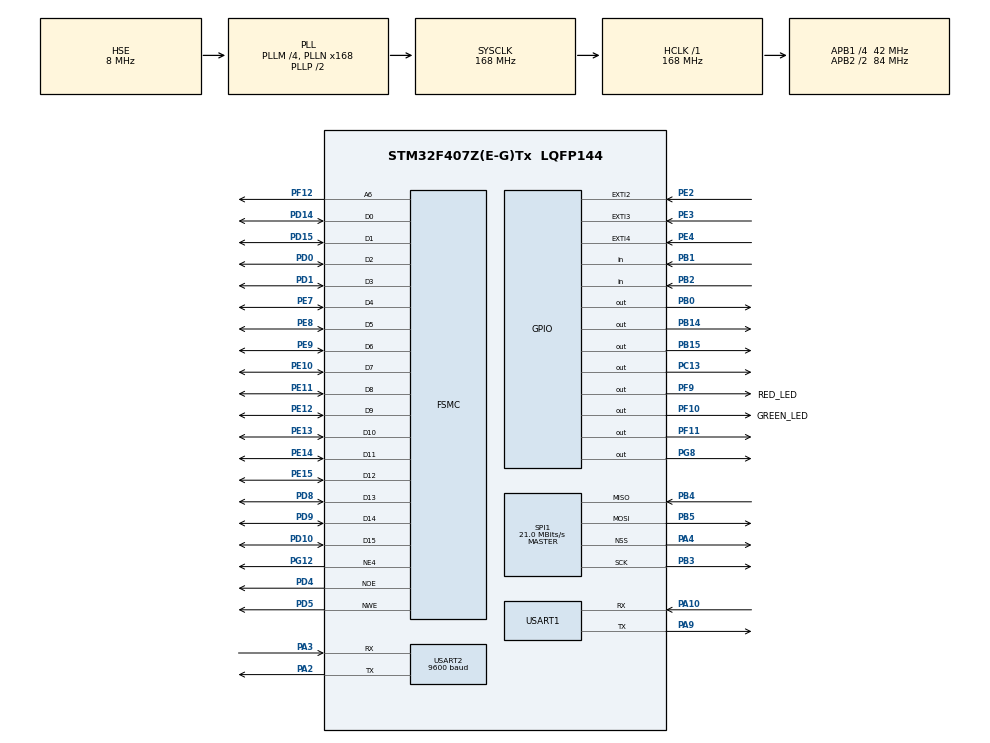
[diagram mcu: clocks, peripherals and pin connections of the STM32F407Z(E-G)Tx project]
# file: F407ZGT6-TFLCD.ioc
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FREERTOS.BinarySemaphores01=netEvent,Dynamic,NULL,Depleted;keyEvent,Dynamic,NULL,Depleted
FREERTOS.Mutexes01=usart1Mutex,Dynamic,NULL,Available;flashMutex,Dynamic,NULL,Available
FREERTOS.Queues01=dataQueue,1,GatewayData_t,0,Dynamic,NULL,NULL;lvglDataQueue,1,GatewayData_t,0,Dynamic,NULL,NULL
FREERTOS.Tasks01=defaultTask,24,128,StartDefaultTask,Default,NULL,Dynamic,NULL,NULL;UITASK,32,2048,StartUITask,As external,NULL,Dynamic,NULL,NULL;modbusTask,25,768,StartModbusTask,As external,NULL,Dynamic,NULL,NULL;atTask,23,512,StartATTask,As external,NULL,Dynamic,NULL,NULL;mqttTask,23,768,StartMQTTTask,As external,NULL,Dynamic,NULL,NULL;dogTask,40,128,StartDogTask,As external,NULL,Dynamic,NULL,NULL
FREERTOS.configENABLE_FPU=1
FREERTOS.configMAX_CO_ROUTINE_PRIORITIES=6
FREERTOS.configTOTAL_HEAP_SIZE=30720
FREERTOS.configUSE_CO_ROUTINES=0
FSMC.BusTurnAroundDuration4=0
FSMC.DataSetupTime4=60
FSMC.ExtendedAddressSetupTime4=9
FSMC.ExtendedBusTurnAroundDuration4=0
FSMC.ExtendedDataSetupTime4=8
FSMC.ExtendedMode4=FSMC_EXTENDED_MODE_ENABLE
IWDG.Prescaler=IWDG_PRESCALER_128
IWDG.Reload=2000
Mcu.Family=STM32F4
Mcu.Name=STM32F407Z(E-G)Tx
Mcu.Package=LQFP144
NVIC.EXTI2_IRQn=true\:5\:0\:false\:false\:true\:true\:true\:true\:true
NVIC.EXTI3_IRQn=true\:5\:0\:false\:false\:true\:true\:true\:true\:true
NVIC.EXTI4_IRQn=true\:5\:0\:false\:false\:true\:true\:true\:true\:true
NVIC.PriorityGroup=NVIC_PRIORITYGROUP_4
NVIC.TIM4_IRQn=true\:15\:0\:false\:false\:true\:false\:false\:true\:true
NVIC.TimeBase=TIM4_IRQn
NVIC.TimeBaseIP=TIM4
NVIC.USART1_IRQn=true\:5\:0\:false\:false\:true\:true\:true\:true\:true
PA10.Mode=Asynchronous
PA10.Signal=USART1_RX
PA13.Mode=Serial_Wire
PA13.Signal=SYS_JTMS-SWDIO
PA14.Mode=Serial_Wire
PA14.Signal=SYS_JTCK-SWCLK
PA2.Mode=Asynchronous
PA2.Signal=USART2_TX
PA3.Mode=Asynchronous
PA3.Signal=USART2_RX
PA4.Mode=NSS_Signal_Hard_Output
PA4.Signal=SPI1_NSS
PA9.Mode=Asynchronous
PA9.Signal=USART1_TX
PB0.Signal=GPIO_Output
PB1.GPIO_PuPd=GPIO_PULLUP
PB1.Signal=GPIO_Input
PB14.PinState=GPIO_PIN_SET
PB14.Signal=GPIO_Output
PB15.PinState=GPIO_PIN_SET
PB15.Signal=GPIO_Output
PB2.GPIO_PuPd=GPIO_PULLUP
PB2.Signal=GPIO_Input
PB3.Mode=Full_Duplex_Master
PB3.Signal=SPI1_SCK
PB4.Mode=Full_Duplex_Master
PB4.Signal=SPI1_MISO
PB5.Mode=Full_Duplex_Master
PB5.Signal=SPI1_MOSI
PC13-ANTI_TAMP.PinState=GPIO_PIN_SET
PC13-ANTI_TAMP.Signal=GPIO_Output
PC14-OSC32_IN.Mode=LSE-External-Oscillator
PC14-OSC32_IN.Signal=RCC_OSC32_IN
PC15-OSC32_OUT.Mode=LSE-External-Oscillator
PC15-OSC32_OUT.Signal=RCC_OSC32_OUT
PD0.Signal=FSMC_D2_DA2
PD1.Signal=FSMC_D3_DA3
PD10.Signal=FSMC_D15_DA15
PD14.Signal=FSMC_D0_DA0
PD15.Signal=FSMC_D1_DA1
PD4.Signal=FSMC_NOE
PD5.Signal=FSMC_NWE
PD8.Signal=FSMC_D13_DA13
PD9.Signal=FSMC_D14_DA14
PE10.Signal=FSMC_D7_DA7
PE11.Signal=FSMC_D8_DA8
PE12.Signal=FSMC_D9_DA9
PE13.Signal=FSMC_D10_DA10
PE14.Signal=FSMC_D11_DA11
PE15.Signal=FSMC_D12_DA12
PE2.GPIO_ModeDefaultEXTI=GPIO_MODE_IT_FALLING
PE2.GPIO_PuPd=GPIO_PULLUP
PE2.Signal=GPXTI2
PE3.GPIO_ModeDefaultEXTI=GPIO_MODE_IT_FALLING
PE3.GPIO_PuPd=GPIO_PULLUP
PE3.Signal=GPXTI3
PE4.GPIO_ModeDefaultEXTI=GPIO_MODE_IT_FALLING
PE4.GPIO_PuPd=GPIO_PULLUP
PE4.Signal=GPXTI4
PE7.Signal=FSMC_D4_DA4
PE8.Signal=FSMC_D5_DA5
PE9.Signal=FSMC_D6_DA6
PF10.GPIO_Label=GREEN_LED
PF10.PinState=GPIO_PIN_SET
PF10.Signal=GPIO_Output
PF11.Signal=GPIO_Output
PF12.Signal=FSMC_A6
PF9.GPIO_Label=RED_LED
PF9.PinState=GPIO_PIN_SET
PF9.Signal=GPIO_Output
PG12.Mode=NorPsramChipSelect4_4
PG12.Signal=FSMC_NE4
PG8.Signal=GPIO_Output
PH0-OSC_IN.Mode=HSE-External-Oscillator
PH0-OSC_IN.Signal=RCC_OSC_IN
PH1-OSC_OUT.Mode=HSE-External-Oscillator
PH1-OSC_OUT.Signal=RCC_OSC_OUT
ProjectManager.HeapSize=0X2000
ProjectManager.StackSize=0x2000
ProjectManager.TargetToolchain=MDK-ARM V5.32
RCC.48MHZClocksFreq_Value=84000000
RCC.AHBFreq_Value=168000000
RCC.APB1CLKDivider=RCC_HCLK_DIV4
RCC.APB1Freq_Value=42000000
RCC.APB1TimFreq_Value=84000000
RCC.APB2CLKDivider=RCC_HCLK_DIV2
RCC.APB2Freq_Value=84000000
RCC.APB2TimFreq_Value=168000000
RCC.CortexFreq_Value=168000000
RCC.HCLKFreq_Value=168000000
RCC.HSE_VALUE=8000000
RCC.HSI_VALUE=16000000
RCC.PLLM=4
RCC.PLLN=168
RCC.PLLSourceVirtual=RCC_PLLSOURCE_HSE
RCC.SYSCLKFreq_VALUE=168000000
RCC.SYSCLKSource=RCC_SYSCLKSOURCE_PLLCLK
RCC.VCOOutputFreq_Value=336000000
SH.FSMC_A6.0=FSMC_A6,A6_4
SH.FSMC_D0_DA0.0=FSMC_D0,16b-d4
SH.FSMC_D10_DA10.0=FSMC_D10,16b-d4
SH.FSMC_D11_DA11.0=FSMC_D11,16b-d4
SH.FSMC_D12_DA12.0=FSMC_D12,16b-d4
SH.FSMC_D13_DA13.0=FSMC_D13,16b-d4
SH.FSMC_D14_DA14.0=FSMC_D14,16b-d4
SH.FSMC_D15_DA15.0=FSMC_D15,16b-d4
SH.FSMC_D1_DA1.0=FSMC_D1,16b-d4
SH.FSMC_D2_DA2.0=FSMC_D2,16b-d4
SH.FSMC_D3_DA3.0=FSMC_D3,16b-d4
SH.FSMC_D4_DA4.0=FSMC_D4,16b-d4
SH.FSMC_D5_DA5.0=FSMC_D5,16b-d4
SH.FSMC_D6_DA6.0=FSMC_D6,16b-d4
SH.FSMC_D7_DA7.0=FSMC_D7,16b-d4
SH.FSMC_D8_DA8.0=FSMC_D8,16b-d4
SH.FSMC_D9_DA9.0=FSMC_D9,16b-d4
SH.FSMC_NOE.0=FSMC_NOE,Lcd4
SH.FSMC_NWE.0=FSMC_NWE,Lcd4
SPI1.BaudRatePrescaler=SPI_BAUDRATEPRESCALER_4
SPI1.CalculateBaudRate=21.0 MBits/s
SPI1.Direction=SPI_DIRECTION_2LINES
SPI1.Mode=SPI_MODE_MASTER
SPI1.VirtualNSS=VM_NSSHARD
SPI1.VirtualType=VM_MASTER
STMicroelectronics.X-CUBE-AI.10.1.0.ActivationBufferSizeList=2944
STMicroelectronics.X-CUBE-AI.10.1.0.ActivationBuffers=pool0
STMicroelectronics.X-CUBE-AI.10.1.0.ActivationNames=pool0
STMicroelectronics.X-CUBE-AI.10.1.0.ActivationSizes=AI_NETWORK_DATA_ACTIVATION_1_SIZE
STMicroelectronics.X-CUBE-AI.10.1.0.InternalRamActivationBufferMaxSize=AI_NETWORK_DATA_ACTIVATIONS_SIZE
STMicroelectronics.X-CUBE-AI.10.1.0.LatestDirectoryUsed-983c594f50453053299c6116cb00e7056095523330580c47e5c2f6d6b2876bee=E\:\\STM32-GongYewanguan\\AI
STMicroelectronics.X-CUBE-AI.10.1.0.MaximumNumberOfInputLayer=1
STMicroelectronics.X-CUBE-AI.10.1.0.MaximumNumberOfOutputLayer=1
STMicroelectronics.X-CUBE-AI.10.1.0.MaximumSizeOfInputLayer=1
STMicroelectronics.X-CUBE-AI.10.1.0.MaximumSizeOfOutputLayer=1
STMicroelectronics.X-CUBE-AI.10.1.0.ModelActualCompression-983c594f50453053299c6116cb00e7056095523330580c47e5c2f6d6b2876bee=0.0
STMicroelectronics.X-CUBE-AI.10.1.0.ModelCompression-983c594f50453053299c6116cb00e7056095523330580c47e5c2f6d6b2876bee=None
STMicroelectronics.X-CUBE-AI.10.1.0.ModelFlashOccupation-983c594f50453053299c6116cb00e7056095523330580c47e5c2f6d6b2876bee=13676
STMicroelectronics.X-CUBE-AI.10.1.0.ModelHashList=983c594f50453053299c6116cb00e7056095523330580c47e5c2f6d6b2876bee
STMicroelectronics.X-CUBE-AI.10.1.0.ModelKind-983c594f50453053299c6116cb00e7056095523330580c47e5c2f6d6b2876bee=TFLITE
STMicroelectronics.X-CUBE-AI.10.1.0.ModelMacc-983c594f50453053299c6116cb00e7056095523330580c47e5c2f6d6b2876bee=168
STMicroelectronics.X-CUBE-AI.10.1.0.ModelName-983c594f50453053299c6116cb00e7056095523330580c47e5c2f6d6b2876bee=network
STMicroelectronics.X-CUBE-AI.10.1.0.ModelNameList=network
STMicroelectronics.X-CUBE-AI.10.1.0.ModelRamOccupation-983c594f50453053299c6116cb00e7056095523330580c47e5c2f6d6b2876bee=2944
STMicroelectronics.X-CUBE-AI.10.1.0.ModelStructureFile-983c594f50453053299c6116cb00e7056095523330580c47e5c2f6d6b2876bee=E\:\\STM32-GongYewanguan\\AI\\sensor_anomaly_model.tflite
STMicroelectronics.X-CUBE-AI.10.1.0.ModelType-983c594f50453053299c6116cb00e7056095523330580c47e5c2f6d6b2876bee=STM32Cube.AI MCU runtime
STMicroelectronics.X-CUBE-AI.10.1.0.ReadyForCodeGeneration=true
STMicroelectronics.X-CUBE-AI.10.1.0.WorkingBufferStartAddrList=0xFFFFFFFF
STMicroelectronics.X-CUBE-AI.10.1.0.XAaCUBEAaAICcArtificialOoIntelligenceJjCore=true
STMicroelectronics.X-CUBE-AI.10.1.0.copyWeightToRam=false
STMicroelectronics.X-CUBE-AI.10.1.0.customLayerConfigEnabled=false
STMicroelectronics.X-CUBE-AI.10.1.0.noOnnxIoTranspose=false
STMicroelectronics.X-CUBE-AI.10.1.0.useInputAllocation=true
STMicroelectronics.X-CUBE-AI.10.1.0.useOutputAllocation=true
USART1.VirtualMode=VM_ASYNC
USART2.BaudRate=9600
USART2.VirtualMode=VM_ASYNC
VP_FREERTOS_VS_CMSIS_V2.Mode=CMSIS_V2
VP_IWDG_VS_IWDG.Mode=IWDG_Activate
VP_STMicroelectronics.X-CUBE-AI_VS_ArtificialOoIntelligenceJjXAaCUBEAaAI_10.1.0.Mode=ArtificialOoIntelligenceJjXAaCUBEAaAI
VP_SYS_VS_tim4.Mode=TIM4
board=custom

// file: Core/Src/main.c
/* USER CODE BEGIN Header */
/**
  ******************************************************************************
  * @file           : main.c
  * @brief          : Main program body
  ******************************************************************************
  * @attention
  *
  * Copyright (c) 2026 STMicroelectronics.
  * All rights reserved.
  *
  * This software is licensed under terms that can be found in the LICENSE file
  * in the root directory of this software component.
  * If no LICENSE file comes with this software, it is provided AS-IS.
  *
  ******************************************************************************
  */
/* USER CODE END Header */
#include "main.h"
#include "cmsis_os.h"
#include "iwdg.h"
#include "spi.h"
#include "usart.h"
#include "gpio.h"
#include "fsmc.h"

/* USER CODE BEGIN Includes */
#include "dvc_lcd.h"
#include "dvc_lcd_touch.h"
#include "dvc_w25q128.h"
#include "svc_state.h"
#include "svc_cache.h"
#include "stdio.h"

/* USER CODE END Includes */

void SystemClock_Config(void);
void MX_FREERTOS_Init(void);

/* USER CODE BEGIN 0 */
uint8_t x = 0;
char  lcd_id[20];
uint16_t tx, ty;
/* USER CODE END 0 */

int main(void)
{

  /* MCU Configuration--------------------------------------------------------*/

  /* Reset of all peripherals, Initializes the Flash interface and the Systick. */
  HAL_Init();

  /* Configure the system clock */
  SystemClock_Config();

  /* Initialize all configured peripherals */
  MX_GPIO_Init();
  MX_FSMC_Init();
  MX_SPI1_Init();
  MX_USART1_UART_Init();
  MX_USART2_UART_Init();
  MX_IWDG_Init();
  /* USER CODE BEGIN 2 */
   lcd_init();  /* 初始化LCD */
   lcd_display_dir(0); /* 强制竖屏 240x320，UI 与触摸尺寸按竖屏布局 */
   TP_Init();   /* 初始化触摸屏 */

   SPI_FLASH_Init();

   SvcState_Init();
   SvcCache_Init(); /* 扫描恢复离线缓存，不擦除有效记录 */
  // SvcCache_Clear();

   lcd_clear(BLACK);

  /* USER CODE END 2 */

  /* Init scheduler */
  osKernelInitialize();  /* Call init function for freertos objects (in cmsis_os2.c) */
  MX_FREERTOS_Init();

  /* Start scheduler */
  osKernelStart();

  /* We should never get here as control is now taken by the scheduler */

  /* Infinite loop */
  while (1)
  {

  }
}

void SystemClock_Config(void)
{
  RCC_OscInitTypeDef RCC_OscInitStruct = {0};
  RCC_ClkInitTypeDef RCC_ClkInitStruct = {0};

  /** Configure the main internal regulator output voltage
  */
  __HAL_RCC_PWR_CLK_ENABLE();
  __HAL_PWR_VOLTAGESCALING_CONFIG(PWR_REGULATOR_VOLTAGE_SCALE1);

  /** Initializes the RCC Oscillators according to the specified parameters
  * in the RCC_OscInitTypeDef structure.
  */
  RCC_OscInitStruct.OscillatorType = RCC_OSCILLATORTYPE_LSI|RCC_OSCILLATORTYPE_HSE;
  RCC_OscInitStruct.HSEState = RCC_HSE_ON;
  RCC_OscInitStruct.LSIState = RCC_LSI_ON;
  RCC_OscInitStruct.PLL.PLLState = RCC_PLL_ON;
  RCC_OscInitStruct.PLL.PLLSource = RCC_PLLSOURCE_HSE;
  RCC_OscInitStruct.PLL.PLLM = 4;
  RCC_OscInitStruct.PLL.PLLN = 168;
  RCC_OscInitStruct.PLL.PLLP = RCC_PLLP_DIV2;
  RCC_OscInitStruct.PLL.PLLQ = 4;
  if (HAL_RCC_OscConfig(&RCC_OscInitStruct) != HAL_OK)
  {
    Error_Handler();
  }

  /** Initializes the CPU, AHB and APB buses clocks
  */
  RCC_ClkInitStruct.ClockType = RCC_CLOCKTYPE_HCLK|RCC_CLOCKTYPE_SYSCLK
                              |RCC_CLOCKTYPE_PCLK1|RCC_CLOCKTYPE_PCLK2;
  RCC_ClkInitStruct.SYSCLKSource = RCC_SYSCLKSOURCE_PLLCLK;
  RCC_ClkInitStruct.AHBCLKDivider = RCC_SYSCLK_DIV1;
  RCC_ClkInitStruct.APB1CLKDivider = RCC_HCLK_DIV4;
  RCC_ClkInitStruct.APB2CLKDivider = RCC_HCLK_DIV2;

  if (HAL_RCC_ClockConfig(&RCC_ClkInitStruct, FLASH_LATENCY_5) != HAL_OK)
  {
    Error_Handler();
  }
}

void HAL_TIM_PeriodElapsedCallback(TIM_HandleTypeDef *htim)
{
  if (htim->Instance == TIM4)
  {
    HAL_IncTick();
  }
}

void Error_Handler(void)
{
  __disable_irq();
  while (1)
  {
  }
}

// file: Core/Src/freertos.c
/* USER CODE BEGIN Header */
/**
  ******************************************************************************
  * File Name          : freertos.c
  * Description        : Code for freertos applications
  ******************************************************************************
  * @attention
  *
  * Copyright (c) 2026 STMicroelectronics.
  * All rights reserved.
  *
  * This software is licensed under terms that can be found in the LICENSE file
  * in the root directory of this software component.
  * If no LICENSE file comes with this software, it is provided AS-IS.
  *
  ******************************************************************************
  */
/* USER CODE END Header */

#include "FreeRTOS.h"
#include "task.h"
#include "main.h"
#include "cmsis_os.h"

/* USER CODE BEGIN Includes */
#include "TaskHandle.h"

/* USER CODE END Includes */

/* Definitions for defaultTask */
osThreadId_t defaultTaskHandle;
const osThreadAttr_t defaultTask_attributes = {
  .name = "defaultTask",
  .stack_size = 128 * 4,
  .priority = (osPriority_t) osPriorityNormal,
};
/* Definitions for UITASK */
osThreadId_t UITASKHandle;
const osThreadAttr_t UITASK_attributes = {
  .name = "UITASK",
  .stack_size = 2048 * 4,
  .priority = (osPriority_t) osPriorityAboveNormal,
};
/* Definitions for modbusTask */
osThreadId_t modbusTaskHandle;
const osThreadAttr_t modbusTask_attributes = {
  .name = "modbusTask",
  .stack_size = 768 * 4,
  .priority = (osPriority_t) osPriorityNormal1,
};
/* Definitions for atTask */
osThreadId_t atTaskHandle;
const osThreadAttr_t atTask_attributes = {
  .name = "atTask",
  .stack_size = 512 * 4,
  .priority = (osPriority_t) osPriorityBelowNormal7,
};
/* Definitions for mqttTask */
osThreadId_t mqttTaskHandle;
const osThreadAttr_t mqttTask_attributes = {
  .name = "mqttTask",
  .stack_size = 768 * 4,
  .priority = (osPriority_t) osPriorityBelowNormal7,
};
/* Definitions for dogTask */
osThreadId_t dogTaskHandle;
const osThreadAttr_t dogTask_attributes = {
  .name = "dogTask",
  .stack_size = 128 * 4,
  .priority = (osPriority_t) osPriorityHigh,
};
/* Definitions for dataQueue */
osMessageQueueId_t dataQueueHandle;
const osMessageQueueAttr_t dataQueue_attributes = {
  .name = "dataQueue"
};
/* Definitions for lvglDataQueue */
osMessageQueueId_t lvglDataQueueHandle;
const osMessageQueueAttr_t lvglDataQueue_attributes = {
  .name = "lvglDataQueue"
};
/* Definitions for usart1Mutex */
osMutexId_t usart1MutexHandle;
const osMutexAttr_t usart1Mutex_attributes = {
  .name = "usart1Mutex"
};
/* Definitions for flashMutex */
osMutexId_t flashMutexHandle;
const osMutexAttr_t flashMutex_attributes = {
  .name = "flashMutex"
};
/* Definitions for netEvent */
osSemaphoreId_t netEventHandle;
const osSemaphoreAttr_t netEvent_attributes = {
  .name = "netEvent"
};
/* Definitions for keyEvent */
osSemaphoreId_t keyEventHandle;
const osSemaphoreAttr_t keyEvent_attributes = {
  .name = "keyEvent"
};

void StartDefaultTask(void *argument);
extern void StartUITask(void *argument);
extern void StartModbusTask(void *argument);
extern void StartATTask(void *argument);
extern void StartMQTTTask(void *argument);
extern void StartDogTask(void *argument);

void MX_FREERTOS_Init(void); /* (MISRA C 2004 rule 8.1) */

void MX_FREERTOS_Init(void) {
  /* Create the mutex(es) */
  /* creation of usart1Mutex */
  usart1MutexHandle = osMutexNew(&usart1Mutex_attributes);

  /* creation of flashMutex */
  flashMutexHandle = osMutexNew(&flashMutex_attributes);

  /* Create the semaphores(s) */
  /* creation of netEvent */
  netEventHandle = osSemaphoreNew(1, 0, &netEvent_attributes);

  /* creation of keyEvent */
  keyEventHandle = osSemaphoreNew(1, 0, &keyEvent_attributes);

  /* Create the queue(s) */
  /* creation of dataQueue */
  dataQueueHandle = osMessageQueueNew (1, sizeof(GatewayData_t), &dataQueue_attributes);

  /* creation of lvglDataQueue */
  lvglDataQueueHandle = osMessageQueueNew (1, sizeof(GatewayData_t), &lvglDataQueue_attributes);

  /* Create the thread(s) */
  /* creation of defaultTask */
  defaultTaskHandle = osThreadNew(StartDefaultTask, NULL, &defaultTask_attributes);

  /* creation of UITASK */
  UITASKHandle = osThreadNew(StartUITask, NULL, &UITASK_attributes);

  /* creation of modbusTask */
  modbusTaskHandle = osThreadNew(StartModbusTask, NULL, &modbusTask_attributes);

  /* creation of atTask */
  atTaskHandle = osThreadNew(StartATTask, NULL, &atTask_attributes);

  /* creation of mqttTask */
  mqttTaskHandle = osThreadNew(StartMQTTTask, NULL, &mqttTask_attributes);

  /* creation of dogTask */
  dogTaskHandle = osThreadNew(StartDogTask, NULL, &dogTask_attributes);

}

void StartDefaultTask(void *argument)
{
  for(;;)
  {
    osDelay(1);
  }
}

/* USER CODE BEGIN Application */

/* configASSERT 断言失败的落点：宏行下不了断点，改在函数体内下断点。
 * 崩的时候会停在这里，从 Call Stack 往上能看到是哪一次 RTOS 调用
 * （osMessageQueuePut / osMutexRelease / osSemaphoreAcquire …）
 * 因为句柄为空或参数非法触发了断言。 */
void vAssertCalled(const char *pcFile, unsigned long ulLine)
{
    (void)pcFile;
    (void)ulLine;
    for (;;)
    {
        /* 断点下在这里：查看 Call Stack 定位触发断言的调用 */
    }
}

/* 任务栈溢出钩子：当 configCHECK_FOR_STACK_OVERFLOW 打开、某任务把栈写穿时，
 * FreeRTOS 会在这里停住。用调试器看 pcTaskName 就是越界的那个任务名；
 * 若在 RAM 有限场合也可在这里点一盏红灯提示。 */
void vApplicationStackOverflowHook(TaskHandle_t xTask, char *pcTaskName)
{
    (void)xTask;
    (void)pcTaskName;
    for (;;)
    {
        /* 停在此处：查看 pcTaskName 确认是哪个任务栈溢出 */
    }
}

/* USER CODE END Application */
